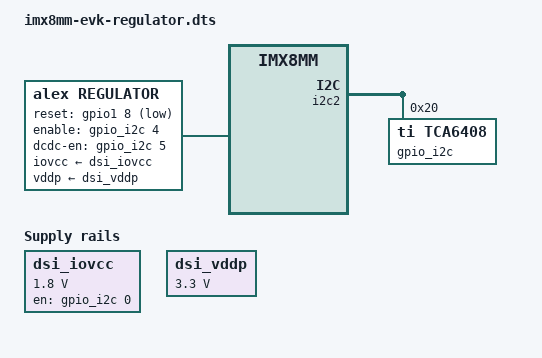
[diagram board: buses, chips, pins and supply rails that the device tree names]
// $Id$

#include "imx8mm-evk.dts"
#include "imx8mm-evk-disabled.dts"

/ {
	dsi_iovcc: dsi-iovcc-regulator {
		compatible = "regulator-fixed";
		regulator-name = "REG-1v8";
		regulator-min-microvolt = <1800000>;
		regulator-max-microvolt = <1800000>;
		enable-active-high;
		gpio = <&gpio_i2c 0 GPIO_ACTIVE_HIGH>;
	};

	dsi_vddp: dsi-vddp-regulator {
		compatible = "regulator-fixed";
		regulator-name = "REG-3v3";
		regulator-min-microvolt = <3300000>;
		regulator-max-microvolt = <3300000>;
		regulator-always-on;
	};

	regulator: regulator-dev {
		compatible = "alex,regulator";
	};

};

&regulator {
	pinctrl-0 = <&pinctrl_mipi_dsi_en>;
	reset-gpios = <&gpio1 8 GPIO_ACTIVE_LOW>;
	enable-gpios = <&gpio_i2c 4 GPIO_ACTIVE_HIGH>; // LED power
	dcdc-en-gpios  = <&gpio_i2c 5 GPIO_ACTIVE_HIGH>; // EN_3V3
	iovcc-supply = <&dsi_iovcc>;
	vddp-supply = <&dsi_vddp>;
	status = "okay";
};

&i2c2 {
		gpio_i2c: gpio@20 {
			compatible = "ti,tca6408";
			reg = <0x20>;
			gpio-controller;
			#gpio-cells = <2>;
		};
};
